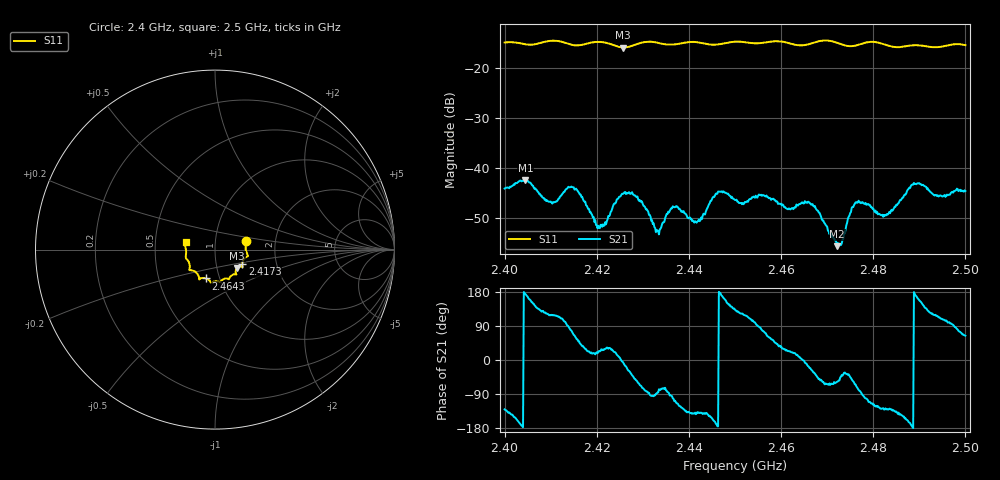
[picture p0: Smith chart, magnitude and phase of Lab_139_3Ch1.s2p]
# Hz S RI R 50
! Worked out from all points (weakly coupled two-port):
!   601 points, 2.4 GHz to 2.5 GHz, reference 50 ohm
!   highest |S21| = -42.47 dB at 2.4045 GHz (marker M1); lowest = -55.6 dB at 2.4722 GHz (marker M2)
!   lowest |S11| = -15.9 dB at 2.4257 GHz (marker M3), VSWR 1.38, Z = 62.5 - j13.1 ohm
!   |S11| at or under -10 dB: start of sweep to end of sweep
!   S12 and S22 are empty: the file has one direction only
!   S11 on the Smith chart (normalised r, x): 2.4 GHz: 1.41, +0.14; 2.4173 GHz: 1.34, -0.23; 2.4643 GHz: 0.86, -0.28; 2.5 GHz: 0.72, +0.06
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2.4e9  0.1731 0.0486  -0.00403 -0.00478  0 0  0 0
2.4045e9  0.1714 0.0199  -0.00749 0.000738  0 0  0 0
2.409833e9  0.1836 -0.0328  -0.00222 0.00404  0 0  0 0
2.414167e9  0.1652 -0.0487  0.000898 0.00638  0 0  0 0
2.416667e9  0.1526 -0.0746  0.00398 0.00327  0 0  0 0
2.417333e9  0.1518 -0.0819  0.00393 0.00243  0 0  0 0
2.420667e9  0.154 -0.0973  0.00231 0.000972  0 0  0 0
2.425667e9  0.123 -0.1024  0.0055 -0.000502  0 0  0 0
2.429333e9  0.1161 -0.1337  0.00196 -0.00437  0 0  0 0
2.433333e9  0.1129 -0.1375  0.000182 -0.00232  0 0  0 0
2.436667e9  0.0891 -0.1465  -0.00091 -0.00399  0 0  0 0
2.4415e9  0.0759 -0.1648  -0.00232 -0.00174  0 0  0 0
2.446333e9  0.045 -0.166  -0.00581 -0.000487  0 0  0 0
2.45e9  0.0288 -0.181  -0.00326 0.00352  0 0  0 0
2.464333e9  -0.0499 -0.1607  0.00443 0.000295  0 0  0 0
2.466667e9  -0.076 -0.1592  0.00384 -0.00195  0 0  0 0
2.472167e9  -0.0888 -0.1549  0.000893 -0.0014  0 0  0 0
2.476333e9  -0.1199 -0.1177  0.00159 -0.00428  0 0  0 0
2.483333e9  -0.1405 -0.09  -0.00228 -0.00267  0 0  0 0
2.488833e9  -0.1624 -0.0464  -0.00709 9.8e-05  0 0  0 0
2.493833e9  -0.1613 -0.0038  -0.00237 0.0047  0 0  0 0
2.5e9  -0.1636 0.0427  0.00257 0.00531  0 0  0 0
